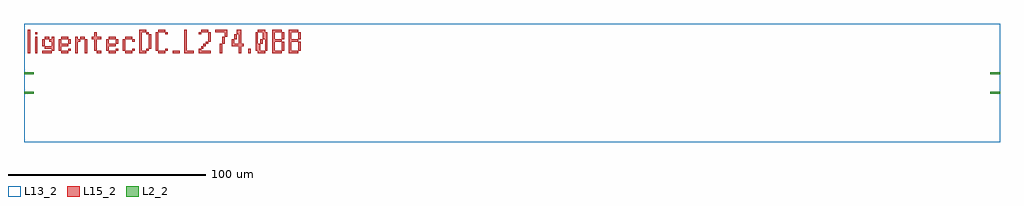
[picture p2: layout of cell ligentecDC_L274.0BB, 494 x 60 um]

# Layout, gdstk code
import gdstk
lib = gdstk.Library(unit=1e-6, precision=1e-09)
def R(c, l, rs):  # rectangles x0, y0, x1, y1
    for r in rs: c.add(gdstk.rectangle(r[:2], r[2:], *l))
def A(c, l, x, y, w, h, nx, ny, dx, dy):  # array of equal rectangles
    R(c, l, [(x+i*dx, y+j*dy, x+i*dx+w, y+j*dy+h) for i in range(nx) for j in range(ny)])
L2_2 = (2, 2)
L13_2 = (13, 2)
L15_2 = (15, 2)

ligentecdc_l274_0bb = lib.new_cell('ligentecDC_L274.0BB')
R(ligentecdc_l274_0bb, L2_2, [(-5,-0.5,0,0.5), (484,-0.5,489,0.5), (-5,9.5,0,10.5), (484,9.5,489,10.5)])
R(ligentecdc_l274_0bb, L13_2, [(-5,-25,489,35)])
A(ligentecdc_l274_0bb, L15_2, 13.8, 20, 3.6, 1.2, 1, 3, 0, 3.6)
A(ligentecdc_l274_0bb, L15_2, 37.8, 20, 3.6, 1.2, 1, 3, 0, 3.6)
A(ligentecdc_l274_0bb, L15_2, 63, 20, 3.6, 1.2, 3, 1, 7.2, 0)
R(ligentecdc_l274_0bb, L15_2, [(-3,20,-1.8,32), (0.6,20,1.8,28.4), (4.2,20,9,21.2), (21,20,22.2,28.4), (25.8,20,27,27.2), (31.8,20,34.2,21.2), (46.2,20,49.8,21.2), (53.4,20,54.6,32), (54.6,20,57,21.2), (76.2,20,77.4,32), (83.4,20,84.6,22.4), (84.6,20,89.4,21.2), (94.2,20,95.4,24.8), (103.8,20,105,32), (108.6,20,109.8,22.4), (113.4,20,114.6,24.8), (114.6,20,117,21.2), (120.6,20,121.8,32), (121.8,20,125.4,21.2), (129,20,130.2,32), (130.2,20,133.8,21.2), (9,21.2,10.2,28.4), (12.6,21.2,13.8,27.2), (17.4,21.2,18.6,22.4), (30.6,21.2,31.8,30.8), (36.6,21.2,37.8,27.2), (41.4,21.2,42.6,22.4), (45,21.2,46.2,27.2), (49.8,21.2,51,22.4), (57,21.2,58.2,22.4), (61.8,21.2,63,30.8), (66.6,21.2,67.8,22.4), (112.2,21.2,113.4,30.8), (117,21.2,118.2,30.8), (125.4,21.2,126.6,26), (133.8,21.2,135,26), (5.4,22.4,9,23.6), (58.2,22.4,59.4,29.6), (84.6,22.4,85.8,23.6), (4.2,23.6,5.4,27.2), (85.8,23.6,87,24.8), (100.2,23.6,101.4,27.2), (101.4,23.6,103.8,24.8), (105,23.6,106.2,24.8), (17.4,24.8,18.6,27.2), (41.4,24.8,42.6,27.2), (87,24.8,88.2,26), (95.4,24.8,96.6,28.4), (114.6,24.8,115.8,27.2), (7.8,26,9,27.2), (22.2,26,23.4,27.2), (49.8,26,51,27.2), (88.2,26,89.4,30.8), (121.8,26,125.4,27.2), (130.2,26,133.8,27.2), (5.4,27.2,7.8,28.4), (23.4,27.2,25.8,28.4), (29.4,27.2,30.6,28.4), (31.8,27.2,34.2,28.4), (46.2,27.2,49.8,28.4), (101.4,27.2,102.6,29.6), (115.8,27.2,117,32), (125.4,27.2,126.6,30.8), (133.8,27.2,135,30.8), (96.6,28.4,97.8,32), (0.6,29.6,1.8,30.8), (57,29.6,58.2,30.8), (66.6,29.6,67.8,30.8), (83.4,29.6,84.6,30.8), (102.6,29.6,103.8,32), (54.6,30.8,57,32), (63,30.8,66.6,32), (84.6,30.8,88.2,32), (91.8,30.8,96.6,32), (113.4,30.8,115.8,32), (121.8,30.8,125.4,32), (130.2,30.8,133.8,32)])

lib.write_gds('ligentecDC_L274.0BB.gds')
